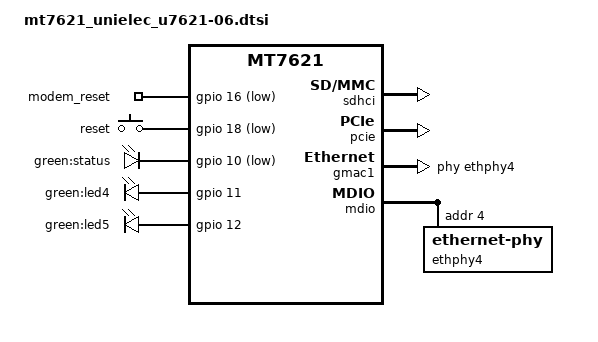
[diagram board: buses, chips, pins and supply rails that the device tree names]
// SPDX-License-Identifier: BSD-3-Clause
/*
 *  Copyright(c) 2017 Kristian Evensen <kristian.evensen@gmail.com>.
 *  Copyright(c) 2017 Piotr Dymacz <pepe2k@gmail.com>.
 *  All rights reserved.
 */

#include "mt7621.dtsi"

#include <dt-bindings/gpio/gpio.h>
#include <dt-bindings/input/input.h>

/ {
	compatible = "unielec,u7621-06", "mediatek,mt7621-soc";

	aliases {
		led-boot = &led_status;
		led-failsafe = &led_status;
		led-running = &led_status;
		led-upgrade = &led_status;
	};

	chosen {
		bootargs = "console=ttyS0,115200";
	};

	gpio-export {
		compatible = "gpio-export";
		#size-cells = <0>;

		modem_reset {
			gpio-export,name = "modem_reset";
			gpio-export,output = <1>;
			gpios = <&gpio 16 GPIO_ACTIVE_LOW>;
		};
	};

	keys {
		compatible = "gpio-keys";

		reset {
			label = "reset";
			gpios = <&gpio 18 GPIO_ACTIVE_LOW>;
			linux,code = <KEY_RESTART>;
		};
	};

	leds {
		compatible = "gpio-leds";

		led_status: status {
			label = "green:status";
			gpios = <&gpio 10 GPIO_ACTIVE_LOW>;
		};

		led4 {
			label = "green:led4";
			gpios = <&gpio 11 GPIO_ACTIVE_HIGH>;
		};

		led5 {
			label = "green:led5";
			gpios = <&gpio 12 GPIO_ACTIVE_HIGH>;
		};
	};
};

&sdhci {
	status = "okay";
};

&pcie {
	status = "okay";
};

&gmac0 {
	mtd-mac-address = <&factory 0xe000>;
};

&gmac1 {
	status = "okay";
	label = "wan";
	phy-handle = <&ethphy4>;

	mtd-mac-address = <&factory 0xe000>;
	mtd-mac-address-increment = <1>;
};

&mdio {
	ethphy4: ethernet-phy@4 {
		reg = <4>;
	};
};

&switch0 {
	ports {
		port@0 {
			status = "okay";
			label = "lan1";
		};

		port@1 {
			status = "okay";
			label = "lan2";
		};

		port@2 {
			status = "okay";
			label = "lan3";
		};

		port@3 {
			status = "okay";
			label = "lan4";
		};
	};
};

&state_default {
	gpio {
		groups = "jtag", "uart2", "wdt";
		function = "gpio";
	};
};
